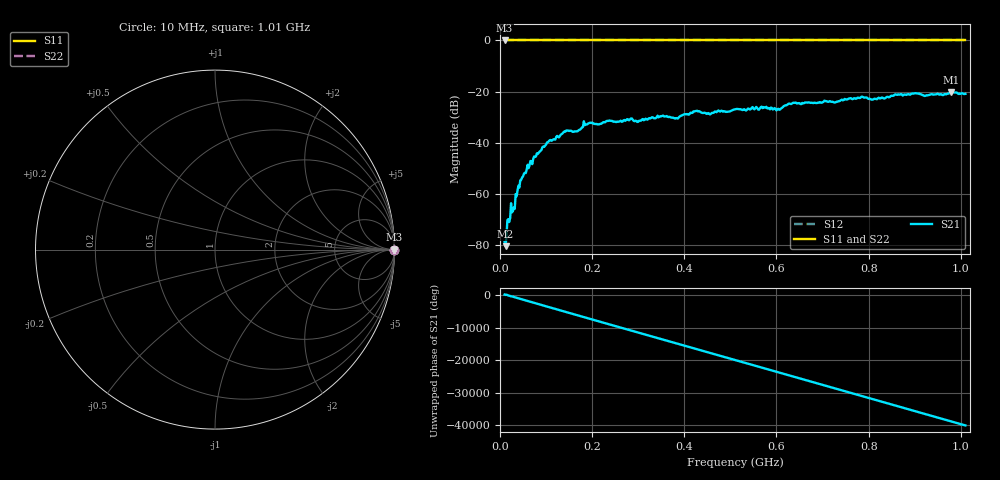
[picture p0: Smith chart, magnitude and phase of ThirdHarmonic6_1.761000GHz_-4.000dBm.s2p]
! 8/16/2025 9:15:20 PM
! C:\ANRITSUVNA\TEMP\TEMP.S2P
! CHANNEL.1
! TR.MEASUREMENT
! RAW.DATA
! RF.CORRECTION.OFF
! AVERAGING.OFF
! IF.BANDWIDTH: 5KHZ
! SWEEPTYPE:  FREQ.SWEEP(Linear)
! Reference Plane Port Info
! PORT:  PORT1  PORT2
! DISTANCE:  0  m  0  m
! TIME:  0  s  0  s
! PHASE.OFFSET:  0  deg.  0  deg.
! LOSS:  0  dB  0  dB
! REF.LOSS:  0  dB  0  dB
! REF.FREQ:  0  Hz  0  Hz
! Power Info
! POWER:  -20  dBm  -20  dBm
! EFF.POWER:  -20  dBm  -20  dBm
! SOURCE.ATTEN:  0  dB  0  dB
! TEST.ATTEN:  0  dB  0  dB
# GHZ S RI R 50.0
! FREQ.GHZ  S11RE  S11IM  S21RE  S21IM  S12RE  S12IM  S22RE  S22IM
!; PortSelection: Port_12
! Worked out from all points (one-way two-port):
!   501 points, 10 MHz to 1.01 GHz, reference 50 ohm
!   highest |S21| = -20.19 dB at 978 MHz (marker M1); lowest = -80.5 dB at 12 MHz (marker M2)
!   lowest |S11| = 0.0 dB at 10 MHz (marker M3)
!   |S11| at or under -10 dB: nowhere
!   |S22| runs from 0.0 to 0.0 dB; largest |S21 - S12| = 1.1
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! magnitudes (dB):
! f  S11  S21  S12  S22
! 10 MHz  0.0  -78.9  0.0  0.0
! 12 MHz  0.0  -80.5  0.0  0.0
! 20 MHz  0.0  -71.1  0.0  0.0
! 30 MHz  0.0  -65.4  0.0  0.0
! 42 MHz  0.0  -57.6  0.0  0.0
! 64 MHz  0.0  -48.9  0.0  0.0
! 106 MHz  0.0  -39.4  0.0  0.0
! 142 MHz  0.0  -35.7  0.0  0.0
! 166 MHz  0.0  -35.6  0.0  0.0
! 178 MHz  0.0  -34.1  0.0  0.0
! 196 MHz  0.0  -32.2  0.0  0.0
! 344 MHz  0.0  -30.1  0.0  0.0
! 382 MHz  0.0  -30.4  0.0  0.0
! 424 MHz  0.0  -27.7  0.0  0.0
! 452 MHz  0.0  -28.4  0.0  0.0
! 510 MHz  0.0  -27.0  0.0  0.0
! 604 MHz  0.0  -26.7  0.0  0.0
! 638 MHz  0.0  -24.4  0.0  0.0
! 678 MHz  0.0  -24.5  0.0  0.0
! 844 MHz  0.0  -22.3  0.0  0.0
! 978 MHz  0.0  -20.2  0.0  0.0
! 1.01 GHz  0.0  -20.9  0.0  0.0
